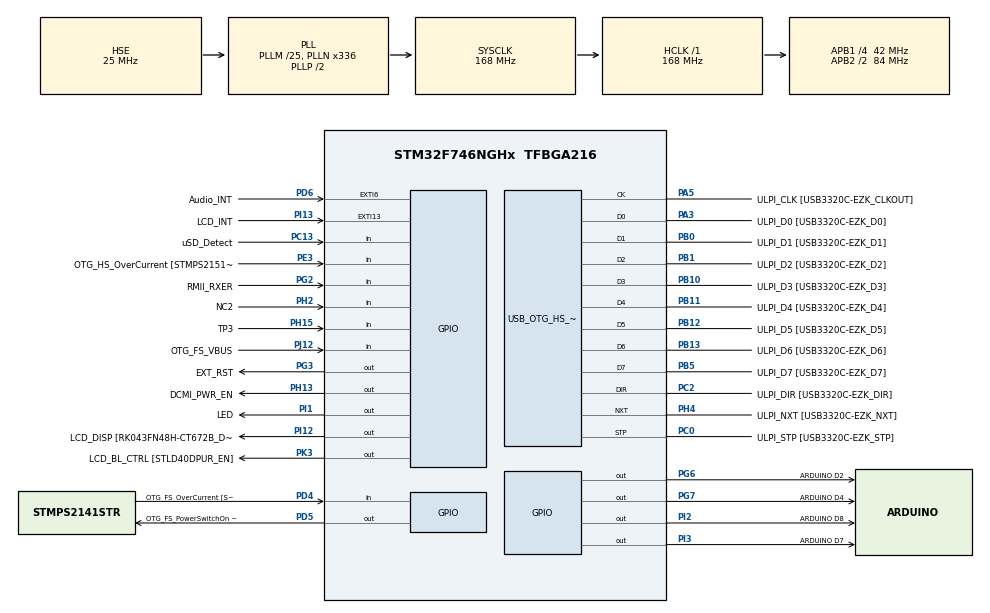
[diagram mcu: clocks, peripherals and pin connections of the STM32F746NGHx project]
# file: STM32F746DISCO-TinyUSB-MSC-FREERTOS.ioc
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FREERTOS.Tasks01=ToggleLed,16,128,ToggleLedTask,Default,NULL,Dynamic,NULL,NULL;USBCDC,23,256,USBCDCTask,Default,NULL,Dynamic,NULL,NULL;USBDevice,24,1024,USBDeviceTask,Default,NULL,Dynamic,NULL,NULL
FREERTOS.configUSE_NEWLIB_REENTRANT=1
Mcu.Family=STM32F7
Mcu.Name=STM32F746NGHx
Mcu.Package=TFBGA216
NVIC.OTG_HS_IRQn=true\:5\:0\:false\:false\:true\:true\:true\:true\:true
NVIC.PriorityGroup=NVIC_PRIORITYGROUP_4
NVIC.TIM6_DAC_IRQn=true\:15\:0\:false\:false\:true\:false\:false\:true\:true
NVIC.TimeBase=TIM6_DAC_IRQn
NVIC.TimeBaseIP=TIM6
PA0/WKUP.GPIO_Label=ARDUINO A0
PA0/WKUP.GPIO_Mode=GPIO_MODE_ANALOG
PA0/WKUP.GPIO_PuPd=GPIO_NOPULL
PA0/WKUP.Signal=ADCx_IN0
PA1.GPIO_Label=RMII_REF_CLK [LAN8742A-CZ-TR_REFCLK0]
PA1.Signal=ETH_REF_CLK
PA10.GPIO_Label=OTG_FS_ID
PA10.Signal=USB_OTG_FS_ID
PA11.GPIO_Label=OTG_FS_N
PA11.Signal=USB_OTG_FS_DM
PA12.GPIO_Label=OTG_FS_P
PA12.Signal=USB_OTG_FS_DP
PA13.GPIO_Label=SWDIO
PA13.Signal=SYS_JTMS-SWDIO
PA14.GPIO_Label=SWCLK
PA14.Signal=SYS_JTCK-SWCLK
PA15.GPIO_Label=ARDUINO PWM/D9
PA15.GPIO_ModeDefaultPP=GPIO_MODE_AF_PP
PA15.GPIO_PuPd=GPIO_NOPULL
PA15.GPIO_Speed=GPIO_SPEED_FREQ_LOW
PA15.Signal=S_TIM2_CH1_ETR
PA2.GPIO_Label=RMII_MDIO [LAN8742A-CZ-TR_MDIO]
PA2.Signal=ETH_MDIO
PA3.GPIO_Label=ULPI_D0 [USB3320C-EZK_D0]
PA3.Mode=Device_HS
PA3.Signal=USB_OTG_HS_ULPI_D0
PA4.GPIO_Label=DCMI_HSYNC
PA4.Signal=DCMI_HSYNC
PA5.GPIO_Label=ULPI_CLK [USB3320C-EZK_CLKOUT]
PA5.Mode=Device_HS
PA5.Signal=USB_OTG_HS_ULPI_CK
PA6.Signal=DCMI_PIXCLK
PA7.GPIO_Label=RMII_CRS_DV [LAN8742A-CZ-TR_CRS_DV]
PA7.Signal=ETH_CRS_DV
PA8.GPIO_Label=ARDUINO PWM/D10
PA8.GPIO_ModeDefaultPP=GPIO_MODE_AF_PP
PA8.GPIO_PuPd=GPIO_NOPULL
PA8.GPIO_Speed=GPIO_SPEED_FREQ_LOW
PA8.Signal=S_TIM1_CH1
PA9.GPIO_Label=VCP_TX [STM32F103CBT6_PA3]
PA9.GPIO_Mode=GPIO_MODE_AF_PP
PA9.GPIO_PuPd=GPIO_NOPULL
PA9.GPIO_Speed=GPIO_SPEED_FREQ_LOW
PA9.Signal=USART1_TX
PB0.GPIO_Label=ULPI_D1 [USB3320C-EZK_D1]
PB0.Mode=Device_HS
PB0.Signal=USB_OTG_HS_ULPI_D1
PB1.GPIO_Label=ULPI_D2 [USB3320C-EZK_D2]
PB1.Mode=Device_HS
PB1.Signal=USB_OTG_HS_ULPI_D2
PB10.GPIO_Label=ULPI_D3 [USB3320C-EZK_D3]
PB10.Mode=Device_HS
PB10.Signal=USB_OTG_HS_ULPI_D3
PB11.GPIO_Label=ULPI_D4 [USB3320C-EZK_D4]
PB11.Mode=Device_HS
PB11.Signal=USB_OTG_HS_ULPI_D4
PB12.GPIO_Label=ULPI_D5 [USB3320C-EZK_D5]
PB12.Mode=Device_HS
PB12.Signal=USB_OTG_HS_ULPI_D5
PB13.GPIO_Label=ULPI_D6 [USB3320C-EZK_D6]
PB13.Mode=Device_HS
PB13.Signal=USB_OTG_HS_ULPI_D6
PB14.GPIO_Label=ARDUINO MISO/D12
PB14.GPIO_Mode=GPIO_MODE_AF_PP
PB14.GPIO_PuPd=GPIO_NOPULL
PB14.GPIO_Speed=GPIO_SPEED_FREQ_LOW
PB14.Signal=SPI2_MISO
PB15.GPIO_Label=ARDUINO MOSI/PWM/D11
PB15.GPIO_Mode=GPIO_MODE_AF_PP
PB15.GPIO_PuPd=GPIO_NOPULL
PB15.GPIO_Speed=GPIO_SPEED_FREQ_LOW
PB15.Signal=SPI2_MOSI
PB2.Signal=QUADSPI_CLK
PB3.GPIO_Label=SWO
PB3.Signal=SYS_JTDO-SWO
PB4.GPIO_Label=ARDUINO PWM/D3
PB4.GPIO_ModeDefaultPP=GPIO_MODE_AF_PP
PB4.GPIO_PuPd=GPIO_NOPULL
PB4.GPIO_Speed=GPIO_SPEED_FREQ_LOW
PB4.Signal=S_TIM3_CH1
PB5.GPIO_Label=ULPI_D7 [USB3320C-EZK_D7]
PB5.Mode=Device_HS
PB5.Signal=USB_OTG_HS_ULPI_D7
PB6.GPIO_Label=QSPI_NCS [N25Q128A13EF840E_S]
PB6.Signal=QUADSPI_BK1_NCS
PB7.GPIO_Label=VCP_RX [STM32F103CBT6_PA2]
PB7.GPIO_Mode=GPIO_MODE_AF_PP
PB7.GPIO_PuPd=GPIO_NOPULL
PB7.GPIO_Speed=GPIO_SPEED_FREQ_LOW
PB7.Signal=USART1_RX
PB8.GPIO_Label=ARDUINO SCL/D15
PB8.GPIO_Mode=GPIO_MODE_AF_OD
PB8.GPIO_PuPd=GPIO_NOPULL
PB8.GPIO_Speed=GPIO_SPEED_FREQ_LOW
PB8.Signal=I2C1_SCL
PB9.GPIO_Label=ARDUINO SDA/D14
PB9.GPIO_Mode=GPIO_MODE_AF_OD
PB9.GPIO_PuPd=GPIO_NOPULL
PB9.GPIO_Speed=GPIO_SPEED_FREQ_LOW
PB9.Signal=I2C1_SDA
PC0.GPIO_Label=ULPI_STP [USB3320C-EZK_STP]
PC0.Mode=Device_HS
PC0.Signal=USB_OTG_HS_ULPI_STP
PC1.GPIO_Label=RMII_MDC [LAN8742A-CZ-TR_MDC]
PC1.Signal=ETH_MDC
PC10.GPIO_Label=SDMMC_D2
PC10.Signal=SDMMC1_D2
PC11.GPIO_Label=SDMMC_D3
PC11.Signal=SDMMC1_D3
PC12.GPIO_Label=SDMMC_CK
PC12.Signal=SDMMC1_CK
PC13.GPIO_Label=uSD_Detect
PC13.Signal=GPIO_Input
PC14/OSC32_IN.GPIO_Label=RCC_OSC32_IN
PC14/OSC32_IN.Mode=LSE-External-Oscillator
PC14/OSC32_IN.Signal=RCC_OSC32_IN
PC15/OSC32_OUT.GPIO_Label=RCC_OSC32_OUT
PC15/OSC32_OUT.Mode=LSE-External-Oscillator
PC15/OSC32_OUT.Signal=RCC_OSC32_OUT
PC2.GPIO_Label=ULPI_DIR [USB3320C-EZK_DIR]
PC2.Mode=Device_HS
PC2.Signal=USB_OTG_HS_ULPI_DIR
PC3.GPIO_Label=FMC_SDCKE0 [MT48LC4M32B2B5-6A_CKE]
PC3.Signal=FMC_SDCKE0
PC4.GPIO_Label=RMII_RXD0 [LAN8742A-CZ-TR_RXD0]
PC4.Signal=ETH_RXD0
PC5.GPIO_Label=RMII_RXD1 [LAN8742A-CZ-TR_RXD1]
PC5.Signal=ETH_RXD1
PC6.GPIO_Label=ARDUINO TX/D1
PC6.Signal=USART6_TX
PC7.GPIO_Label=ARDUINO RX/D0
PC7.Signal=USART6_RX
PC8.Signal=SDMMC1_D0
PC9.Signal=SDMMC1_D1
PD0.GPIO_Label=FMC_D2 [MT48LC4M32B2B5-6A_DQ2]
PD0.Signal=FMC_D2_DA2
PD1.GPIO_Label=FMC_D3 [MT48LC4M32B2B5-6A_DQ3]
PD1.Signal=FMC_D3_DA3
PD10.GPIO_Label=FMC_D15 [MT48LC4M32B2B5-6A_DQ15]
PD10.Signal=FMC_D15_DA15
PD11.GPIO_Label=QSPI_D0 [N25Q128A13EF840E_DQ0]
PD11.Signal=QUADSPI_BK1_IO0
PD12.GPIO_Label=QSPI_D1 [N25Q128A13EF840E_DQ1]
PD12.Signal=QUADSPI_BK1_IO1
PD13.GPIO_Label=QSPI_D3 [N25Q128A13EF840E_DQ3]
PD13.Signal=QUADSPI_BK1_IO3
PD14.GPIO_Label=FMC_D0 [MT48LC4M32B2B5-6A_DQ0]
PD14.Signal=FMC_D0_DA0
PD15.GPIO_Label=FMC_D1 [MT48LC4M32B2B5-6A_DQ1]
PD15.Signal=FMC_D1_DA1
PD2.GPIO_Label=SDMMC_D0
PD2.Signal=SDMMC1_CMD
PD3.GPIO_Label=DCMI_D5
PD3.Signal=DCMI_D5
PD4.GPIO_Label=OTG_FS_OverCurrent [STMPS2141STR_Fault]
PD4.Signal=GPIO_Input
PD5.GPIO_Label=OTG_FS_PowerSwitchOn [STMPS2141STR_EN]
PD5.PinState=GPIO_PIN_SET
PD5.Signal=GPIO_Output
PD6.GPIO_Label=Audio_INT
PD6.GPIO_ModeDefaultEXTI=GPIO_MODE_EVT_RISING
PD6.Signal=GPXTI6
PD7.GPIO_Label=SPDIF_RX0 [74LVC1G04SE_4]
PD7.Signal=SPDIFRX_IN0
PD8.GPIO_Label=FMC_D13 [MT48LC4M32B2B5-6A_DQ13]
PD8.Signal=FMC_D13_DA13
PD9.GPIO_Label=FMC_D14 [MT48LC4M32B2B5-6A_DQ14]
PD9.Signal=FMC_D14_DA14
PE0.GPIO_Label=FMC_NBL0 [MT48LC4M32B2B5-6A_DQM0]
PE0.Signal=FMC_NBL0
PE1.GPIO_Label=FMC_NBL1 [MT48LC4M32B2B5-6A_DQM1]
PE1.Signal=FMC_NBL1
PE10.GPIO_Label=FMC_D7 [MT48LC4M32B2B5-6A_DQ7]
PE10.Signal=FMC_D7_DA7
PE11.GPIO_Label=FMC_D8 [MT48LC4M32B2B5-6A_DQ8]
PE11.Signal=FMC_D8_DA8
PE12.GPIO_Label=FMC_D9 [MT48LC4M32B2B5-6A_DQ9]
PE12.Signal=FMC_D9_DA9
PE13.GPIO_Label=FMC_D10 [MT48LC4M32B2B5-6A_DQ10]
PE13.Signal=FMC_D10_DA10
PE14.GPIO_Label=FMC_D11 [MT48LC4M32B2B5-6A_DQ11]
PE14.Signal=FMC_D11_DA11
PE15.GPIO_Label=FMC_D12 [MT48LC4M32B2B5-6A_DQ12]
PE15.Signal=FMC_D12_DA12
PE2.GPIO_Label=QSPI_D2 [N25Q128A13EF840E_DQ2]
PE2.Signal=QUADSPI_BK1_IO2
PE3.GPIO_Label=OTG_HS_OverCurrent [STMPS2151STR_FAULT]
PE3.Signal=GPIO_Input
PE4.GPIO_Label=LCD_B0 [RK043FN48H-CT672B_B0]
PE4.Signal=LTDC_B0
PE5.GPIO_Label=DCMI_D6
PE5.Signal=DCMI_D6
PE6.GPIO_Label=DCMI_D7
PE6.Signal=DCMI_D7
PE7.GPIO_Label=FMC_D4 [MT48LC4M32B2B5-6A_DQ4]
PE7.Signal=FMC_D4_DA4
PE8.GPIO_Label=FMC_D5 [MT48LC4M32B2B5-6A_DQ5]
PE8.Signal=FMC_D5_DA5
PE9.GPIO_Label=FMC_D6 [MT48LC4M32B2B5-6A_DQ6]
PE9.Signal=FMC_D6_DA6
PF0.GPIO_Label=FMC_A0 [MT48LC4M32B2B5-6A_A0]
PF0.Signal=FMC_A0
PF1.GPIO_Label=FMC_A1 [MT48LC4M32B2B5-6A_A1]
PF1.Signal=FMC_A1
PF10.GPIO_Label=ARDUINO A1
PF10.GPIO_Mode=GPIO_MODE_ANALOG
PF10.GPIO_PuPd=GPIO_NOPULL
PF10.Signal=ADC3_IN8
PF11.GPIO_Label=FMC_SDNRAS [MT48LC4M32B2B5-6A_RAS]
PF11.Signal=FMC_SDNRAS
PF12.GPIO_Label=FMC_A6 [MT48LC4M32B2B5-6A_A6]
PF12.Signal=FMC_A6
PF13.GPIO_Label=FMC_A7 [MT48LC4M32B2B5-6A_A7]
PF13.Signal=FMC_A7
PF14.GPIO_Label=FMC_A8 [MT48LC4M32B2B5-6A_A8]
PF14.Signal=FMC_A8
PF15.GPIO_Label=FMC_A9 [MT48LC4M32B2B5-6A_A9]
PF15.Signal=FMC_A9
PF2.GPIO_Label=FMC_A2 [MT48LC4M32B2B5-6A_A2]
PF2.Signal=FMC_A2
PF3.GPIO_Label=FMC_A3 [MT48LC4M32B2B5-6A_A3]
PF3.Signal=FMC_A3
PF4.GPIO_Label=FMC_A4 [MT48LC4M32B2B5-6A_A4]
PF4.Signal=FMC_A4
PF5.GPIO_Label=FMC_A5 [MT48LC4M32B2B5-6A_A5]
PF5.Signal=FMC_A5
PF6.GPIO_Label=ARDUINO A5
PF6.GPIO_Mode=GPIO_MODE_ANALOG
PF6.GPIO_PuPd=GPIO_NOPULL
PF6.Signal=ADC3_IN4
PF7.GPIO_Label=ARDUINO A4
PF7.GPIO_Mode=GPIO_MODE_ANALOG
PF7.GPIO_PuPd=GPIO_NOPULL
PF7.Signal=ADC3_IN5
PF8.GPIO_Label=ARDUINO A3
PF8.GPIO_Mode=GPIO_MODE_ANALOG
PF8.GPIO_PuPd=GPIO_NOPULL
PF8.Signal=ADC3_IN6
PF9.GPIO_Label=ARDUINO A2
PF9.GPIO_Mode=GPIO_MODE_ANALOG
PF9.GPIO_PuPd=GPIO_NOPULL
PF9.Signal=ADC3_IN7
PG0.GPIO_Label=FMC_A10 [MT48LC4M32B2B5-6A_A10]
PG0.Signal=FMC_A10
PG1.GPIO_Label=FMC_A11 [MT48LC4M32B2B5-6A_A11]
PG1.Signal=FMC_A11
PG10.GPIO_Label=SAI2_SDB [WM8994ECS/R_ADCDAT1]
PG10.Signal=SAI2_SD_B
PG11.GPIO_Label=RMII_TX_EN [LAN8742A-CZ-TR_TXEN]
PG11.Signal=ETH_TX_EN
PG12.GPIO_Label=LCD_B4 [RK043FN48H-CT672B_B4]
PG12.Signal=LTDC_B4
PG13.GPIO_Label=RMII_TXD0 [LAN8742A-CZ-TR_TXD0]
PG13.Signal=ETH_TXD0
PG14.GPIO_Label=RMII_TXD1 [LAN8742A-CZ-TR_TXD1]
PG14.Signal=ETH_TXD1
PG15.GPIO_Label=FMC_SDNCAS [MT48LC4M32B2B5-6A_CAS]
PG15.Signal=FMC_SDNCAS
PG2.GPIO_Label=RMII_RXER
PG2.Signal=GPIO_Input
PG3.GPIO_Label=EXT_RST
PG3.Signal=GPIO_Output
PG4.GPIO_Label=FMC_BA0 [MT48LC4M32B2B5-6A_BA0]
PG4.Signal=FMC_A14_BA0
PG5.GPIO_Label=FMC_BA1 [MT48LC4M32B2B5-6A_BA1]
PG5.Signal=FMC_A15_BA1
PG6.GPIO_Label=ARDUINO D2
PG6.Signal=GPIO_Output
PG7.GPIO_Label=ARDUINO D4
PG7.Signal=GPIO_Output
PG8.GPIO_Label=FMC_SDCLK [MT48LC4M32B2B5-6A_CLK]
PG8.Signal=FMC_SDCLK
PG9.GPIO_Label=DCMI_VSYNC
PG9.Signal=DCMI_VSYNC
PH0/OSC_IN.GPIO_Label=OSC_25M [NZ2520SB-25.00M_OUT]
PH0/OSC_IN.Mode=HSE-External-Oscillator
PH0/OSC_IN.Signal=RCC_OSC_IN
PH1/OSC_OUT.Mode=HSE-External-Oscillator
PH1/OSC_OUT.Signal=RCC_OSC_OUT
PH10.GPIO_Label=DCMI_D1
PH10.Signal=DCMI_D1
PH11.GPIO_Label=DCMI_D2
PH11.Signal=DCMI_D2
PH12.GPIO_Label=DCMI_D3
PH12.Signal=DCMI_D3
PH13.GPIO_Label=DCMI_PWR_EN
PH13.Signal=GPIO_Output
PH14.GPIO_Label=DCMI_D4
PH14.Signal=DCMI_D4
PH15.GPIO_Label=TP3
PH15.Signal=GPIO_Input
PH2.GPIO_Label=NC2
PH2.Signal=GPIO_Input
PH3.GPIO_Label=FMC_SDNE0 [MT48LC4M32B2B5-6A_CS]
PH3.Signal=FMC_SDNE0
PH4.GPIO_Label=ULPI_NXT [USB3320C-EZK_NXT]
PH4.Mode=Device_HS
PH4.Signal=USB_OTG_HS_ULPI_NXT
PH5.GPIO_Label=FMC_SDNME [MT48LC4M32B2B5-6A_WE]
PH5.Signal=FMC_SDNWE
PH6.GPIO_Label=ARDUINO PWM/D6
PH6.Signal=S_TIM12_CH1
PH7.GPIO_Label=LCD_SCL [RK043FN48H-CT672B_SCL]
PH7.Signal=I2C3_SCL
PH8.GPIO_Label=LCD_SDA [RK043FN48H-CT672B_SDA]
PH8.Signal=I2C3_SDA
PH9.GPIO_Label=DCMI_D0
PH9.Signal=DCMI_D0
PI0.GPIO_Label=ARDUINO PWM/CS/D5
PI0.GPIO_ModeDefaultPP=GPIO_MODE_AF_PP
PI0.GPIO_PuPd=GPIO_NOPULL
PI0.GPIO_Speed=GPIO_SPEED_FREQ_LOW
PI0.Signal=S_TIM5_CH4
PI1.GPIO_Label=LED
PI1.Signal=GPIO_Output
PI10.GPIO_Label=LCD_HSYNC [RK043FN48H-CT672B_HSYNC]
PI10.Signal=LTDC_HSYNC
PI12.GPIO_Label=LCD_DISP [RK043FN48H-CT672B_DISP] 
PI12.Signal=GPIO_Output
PI13.GPIO_Label=LCD_INT
PI13.GPIO_ModeDefaultEXTI=GPIO_MODE_EVT_RISING
PI13.Signal=GPXTI13
PI14.GPIO_Label=LCD_CLK [RK043FN48H-CT672B_CLK]
PI14.Signal=LTDC_CLK
PI15.GPIO_Label=LCD_R0 [RK043FN48H-CT672B_R0]
PI15.Signal=LTDC_R0
PI2.GPIO_Label=ARDUINO D8
PI2.Signal=GPIO_Output
PI3.GPIO_Label=ARDUINO D7
PI3.Signal=GPIO_Output
PI4.GPIO_Label=SAI2_MCLKA [WM8994ECS/R_MCLK1]
PI4.Signal=SAI2_MCLK_A
PI5.GPIO_Label=SAI2_SCKA [WM8994ECS/R_BCLK1]
PI5.Signal=SAI2_SCK_A
PI6.GPIO_Label=SAI2_SDA [WM8994ECS/R_DACDAT1]
PI6.Signal=SAI2_SD_A
PI7.GPIO_Label=SAI2_FSA [WM8994ECS/R_LRCLK1]
PI7.Signal=SAI2_FS_A
PI8.GPIO_Label=NC1 [TP2]
PI8.Signal=RTC_TS
PI9.GPIO_Label=LCD_VSYNC [RK043FN48H-CT672B_VSYNC]
PI9.Signal=LTDC_VSYNC
PJ0.GPIO_Label=LCD_R1 [RK043FN48H-CT672B_R1]
PJ0.Signal=LTDC_R1
PJ1.GPIO_Label=LCD_R2 [RK043FN48H-CT672B_R2]
PJ1.Signal=LTDC_R2
PJ10.GPIO_Label=LCD_G3 [RK043FN48H-CT672B_G3]
PJ10.Signal=LTDC_G3
PJ11.GPIO_Label=LCD_G4 [RK043FN48H-CT672B_G4]
PJ11.Signal=LTDC_G4
PJ12.GPIO_Label=OTG_FS_VBUS
PJ12.Signal=GPIO_Input
PJ13.GPIO_Label=LCD_B1 [RK043FN48H-CT672B_B1]
PJ13.Signal=LTDC_B1
PJ14.GPIO_Label=LCD_B2 [RK043FN48H-CT672B_B2]
PJ14.Signal=LTDC_B2
PJ15.GPIO_Label=LCD_B3 [RK043FN48H-CT672B_B3]
PJ15.Signal=LTDC_B3
PJ2.GPIO_Label=LCD_R3 [RK043FN48H-CT672B_R3]
PJ2.Signal=LTDC_R3
PJ3.GPIO_Label=LCD_R4 [RK043FN48H-CT672B_R4]
PJ3.Signal=LTDC_R4
PJ4.GPIO_Label=LCD_R5 [RK043FN48H-CT672B_R5]
PJ4.Signal=LTDC_R5
PJ5.GPIO_Label=LCD_R6 [RK043FN48H-CT672B_R6]
PJ5.Signal=LTDC_R6
PJ6.GPIO_Label=LCD_R7 [RK043FN48H-CT672B_R7]
PJ6.Signal=LTDC_R7
PJ7.GPIO_Label=LCD_G0 [RK043FN48H-CT672B_G0]
PJ7.Signal=LTDC_G0
PJ8.GPIO_Label=LCD_G1 [RK043FN48H-CT672B_G1]
PJ8.Signal=LTDC_G1
PJ9.GPIO_Label=LCD_G2 [RK043FN48H-CT672B_G2]
PJ9.Signal=LTDC_G2
PK0.GPIO_Label=LCD_G5 [RK043FN48H-CT672B_G5]
PK0.Signal=LTDC_G5
PK1.GPIO_Label=LCD_G6 [RK043FN48H-CT672B_G6]
PK1.Signal=LTDC_G6
PK2.GPIO_Label=LCD_G7 [RK043FN48H-CT672B_G7]
PK2.Signal=LTDC_G7
PK3.GPIO_Label=LCD_BL_CTRL [STLD40DPUR_EN]
PK3.Signal=GPIO_Output
PK4.GPIO_Label=LCD_B5 [RK043FN48H-CT672B_B5]
PK4.Signal=LTDC_B5
PK5.GPIO_Label=LCD_B6 [RK043FN48H-CT672B_B6]
PK5.Signal=LTDC_B6
PK6.GPIO_Label=LCD_B7 [RK043FN48H-CT672B_B7]
PK6.Signal=LTDC_B7
PK7.GPIO_Label=LCD_DE [RK043FN48H-CT672B_DE]
PK7.Signal=LTDC_DE
ProjectManager.HeapSize=0x200
ProjectManager.StackSize=0x400
ProjectManager.TargetToolchain=CMake
RCC.AHBFreq_Value=168000000
RCC.APB1CLKDivider=RCC_HCLK_DIV4
RCC.APB1Freq_Value=42000000
RCC.APB1TimFreq_Value=84000000
RCC.APB2CLKDivider=RCC_HCLK_DIV2
RCC.APB2Freq_Value=84000000
RCC.APB2TimFreq_Value=168000000
RCC.CortexFreq_Value=168000000
RCC.HCLKFreq_Value=168000000
RCC.HSE_VALUE=25000000
RCC.HSI_VALUE=16000000
RCC.PLLM=25
RCC.PLLN=336
RCC.PLLSourceVirtual=RCC_PLLSOURCE_HSE
RCC.SYSCLKFreq_VALUE=168000000
RCC.SYSCLKSource=RCC_SYSCLKSOURCE_PLLCLK
RCC.USBFreq_Value=168000000
RCC.VCOOutputFreq_Value=336000000
SH.ADCx_IN0.0=ADC3_IN0
SH.FMC_A0.0=FMC_A0
SH.FMC_A1.0=FMC_A1
SH.FMC_A10.0=FMC_A10
SH.FMC_A11.0=FMC_A11
SH.FMC_A14_BA0.0=FMC_BA0
SH.FMC_A15_BA1.0=FMC_BA1
SH.FMC_A2.0=FMC_A2
SH.FMC_A3.0=FMC_A3
SH.FMC_A4.0=FMC_A4
SH.FMC_A5.0=FMC_A5
SH.FMC_A6.0=FMC_A6
SH.FMC_A7.0=FMC_A7
SH.FMC_A8.0=FMC_A8
SH.FMC_A9.0=FMC_A9
SH.FMC_D0_DA0.0=FMC_D0
SH.FMC_D10_DA10.0=FMC_D10
SH.FMC_D11_DA11.0=FMC_D11
SH.FMC_D12_DA12.0=FMC_D12
SH.FMC_D13_DA13.0=FMC_D13
SH.FMC_D14_DA14.0=FMC_D14
SH.FMC_D15_DA15.0=FMC_D15
SH.FMC_D1_DA1.0=FMC_D1
SH.FMC_D2_DA2.0=FMC_D2
SH.FMC_D3_DA3.0=FMC_D3
SH.FMC_D4_DA4.0=FMC_D4
SH.FMC_D5_DA5.0=FMC_D5
SH.FMC_D6_DA6.0=FMC_D6
SH.FMC_D7_DA7.0=FMC_D7
SH.FMC_D8_DA8.0=FMC_D8
SH.FMC_D9_DA9.0=FMC_D9
SH.FMC_NBL0.0=FMC_NBL0
SH.FMC_NBL1.0=FMC_NBL1
SH.FMC_SDCLK.0=FMC_SDCLK
SH.FMC_SDNCAS.0=FMC_SDNCAS
SH.FMC_SDNRAS.0=FMC_SDNRAS
SH.FMC_SDNWE.0=FMC_SDNWE
SH.S_TIM12_CH1.0=TIM12_CH1
SH.S_TIM1_CH1.0=TIM1_CH1
SH.S_TIM2_CH1_ETR.0=TIM2_CH1
SH.S_TIM3_CH1.0=TIM3_CH1
SH.S_TIM5_CH4.0=TIM5_CH4
USB_OTG_HS.VirtualMode-Device_HS=Device_HS
VP_FREERTOS_VS_CMSIS_V2.Mode=CMSIS_V2
VP_SYS_VS_tim6.Mode=TIM6
board=STM32F746G-DISCO

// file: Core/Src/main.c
/* USER CODE BEGIN Header */
/**
  ******************************************************************************
  * @file           : main.c
  * @brief          : Main program body
  ******************************************************************************
  * @attention
  *
  * Copyright (c) 2024 STMicroelectronics.
  * All rights reserved.
  *
  * This software is licensed under terms that can be found in the LICENSE file
  * in the root directory of this software component.
  * If no LICENSE file comes with this software, it is provided AS-IS.
  *
  ******************************************************************************
  */
/* USER CODE END Header */
#include "main.h"
#include "cmsis_os.h"

/* USER CODE BEGIN Includes */
#include "tusb.h"
/* USER CODE END Includes */

/* USER CODE BEGIN PTD */

/* Blink pattern
 * - 250 ms  : device not mounted
 * - 1000 ms : device mounted
 * - 2500 ms : device is suspended
 */
enum {
  BLINK_NOT_MOUNTED = 250,
  BLINK_MOUNTED = 1000,
  BLINK_SUSPENDED = 2500,
};

/* USER CODE END PTD */

PCD_HandleTypeDef hpcd_USB_OTG_HS;

/* Definitions for ToggleLed */
osThreadId_t ToggleLedHandle;
const osThreadAttr_t ToggleLed_attributes = {
  .name = "ToggleLed",
  .stack_size = 128 * 4,
  .priority = (osPriority_t) osPriorityBelowNormal,
};
/* Definitions for USBCDC */
osThreadId_t USBCDCHandle;
const osThreadAttr_t USBCDC_attributes = {
  .name = "USBCDC",
  .stack_size = 256 * 4,
  .priority = (osPriority_t) osPriorityBelowNormal7,
};
/* Definitions for USBDevice */
osThreadId_t USBDeviceHandle;
const osThreadAttr_t USBDevice_attributes = {
  .name = "USBDevice",
  .stack_size = 1024 * 4,
  .priority = (osPriority_t) osPriorityNormal,
};
/* USER CODE BEGIN PV */

static uint32_t blink_interval_ms = BLINK_NOT_MOUNTED;

/* USER CODE END PV */

void SystemClock_Config(void);
static void MX_GPIO_Init(void);
static void MX_USB_OTG_HS_PCD_Init(void);
void ToggleLedTask(void *argument);
void USBCDCTask(void *argument);
void USBDeviceTask(void *argument);

int main(void)
{

  /* MCU Configuration--------------------------------------------------------*/

  /* Reset of all peripherals, Initializes the Flash interface and the Systick. */
  HAL_Init();

  /* Configure the system clock */
  SystemClock_Config();

  /* Initialize all configured peripherals */
  MX_GPIO_Init();
  MX_USB_OTG_HS_PCD_Init();

  /* Init scheduler */
  osKernelInitialize();

  /* Create the thread(s) */
  /* creation of ToggleLed */
  ToggleLedHandle = osThreadNew(ToggleLedTask, NULL, &ToggleLed_attributes);

  /* creation of USBCDC */
  USBCDCHandle = osThreadNew(USBCDCTask, NULL, &USBCDC_attributes);

  /* creation of USBDevice */
  USBDeviceHandle = osThreadNew(USBDeviceTask, NULL, &USBDevice_attributes);

  /* Start scheduler */
  osKernelStart();

  /* We should never get here as control is now taken by the scheduler */

  /* Infinite loop */
  while (1)
  {

  }
}

void SystemClock_Config(void)
{
  RCC_OscInitTypeDef RCC_OscInitStruct = {0};
  RCC_ClkInitTypeDef RCC_ClkInitStruct = {0};

  /** Configure LSE Drive Capability
  */
  HAL_PWR_EnableBkUpAccess();

  /** Configure the main internal regulator output voltage
  */
  __HAL_RCC_PWR_CLK_ENABLE();
  __HAL_PWR_VOLTAGESCALING_CONFIG(PWR_REGULATOR_VOLTAGE_SCALE2);

  /** Initializes the RCC Oscillators according to the specified parameters
  * in the RCC_OscInitTypeDef structure.
  */
  RCC_OscInitStruct.OscillatorType = RCC_OSCILLATORTYPE_HSE;
  RCC_OscInitStruct.HSEState = RCC_HSE_ON;
  RCC_OscInitStruct.PLL.PLLState = RCC_PLL_ON;
  RCC_OscInitStruct.PLL.PLLSource = RCC_PLLSOURCE_HSE;
  RCC_OscInitStruct.PLL.PLLM = 25;
  RCC_OscInitStruct.PLL.PLLN = 336;
  RCC_OscInitStruct.PLL.PLLP = RCC_PLLP_DIV2;
  RCC_OscInitStruct.PLL.PLLQ = 2;
  if (HAL_RCC_OscConfig(&RCC_OscInitStruct) != HAL_OK)
  {
    Error_Handler();
  }

  /** Initializes the CPU, AHB and APB buses clocks
  */
  RCC_ClkInitStruct.ClockType = RCC_CLOCKTYPE_HCLK|RCC_CLOCKTYPE_SYSCLK
                              |RCC_CLOCKTYPE_PCLK1|RCC_CLOCKTYPE_PCLK2;
  RCC_ClkInitStruct.SYSCLKSource = RCC_SYSCLKSOURCE_PLLCLK;
  RCC_ClkInitStruct.AHBCLKDivider = RCC_SYSCLK_DIV1;
  RCC_ClkInitStruct.APB1CLKDivider = RCC_HCLK_DIV4;
  RCC_ClkInitStruct.APB2CLKDivider = RCC_HCLK_DIV2;

  if (HAL_RCC_ClockConfig(&RCC_ClkInitStruct, FLASH_LATENCY_5) != HAL_OK)
  {
    Error_Handler();
  }
}

static void MX_USB_OTG_HS_PCD_Init(void)
{

  hpcd_USB_OTG_HS.Instance = USB_OTG_HS;
  hpcd_USB_OTG_HS.Init.dev_endpoints = 8;
  hpcd_USB_OTG_HS.Init.speed = PCD_SPEED_HIGH;
  hpcd_USB_OTG_HS.Init.dma_enable = DISABLE;
  hpcd_USB_OTG_HS.Init.phy_itface = USB_OTG_ULPI_PHY;
  hpcd_USB_OTG_HS.Init.Sof_enable = DISABLE;
  hpcd_USB_OTG_HS.Init.low_power_enable = DISABLE;
  hpcd_USB_OTG_HS.Init.lpm_enable = DISABLE;
  hpcd_USB_OTG_HS.Init.vbus_sensing_enable = DISABLE;
  hpcd_USB_OTG_HS.Init.use_dedicated_ep1 = DISABLE;
  hpcd_USB_OTG_HS.Init.use_external_vbus = DISABLE;
  if (HAL_PCD_Init(&hpcd_USB_OTG_HS) != HAL_OK)
  {
    Error_Handler();
  }

}

static void MX_GPIO_Init(void)
{
  GPIO_InitTypeDef GPIO_InitStruct = {0};

  /* GPIO Ports Clock Enable */
  __HAL_RCC_GPIOE_CLK_ENABLE();
  __HAL_RCC_GPIOG_CLK_ENABLE();
  __HAL_RCC_GPIOB_CLK_ENABLE();
  __HAL_RCC_GPIOD_CLK_ENABLE();
  __HAL_RCC_GPIOC_CLK_ENABLE();
  __HAL_RCC_GPIOA_CLK_ENABLE();
  __HAL_RCC_GPIOJ_CLK_ENABLE();
  __HAL_RCC_GPIOI_CLK_ENABLE();
  __HAL_RCC_GPIOK_CLK_ENABLE();
  __HAL_RCC_GPIOF_CLK_ENABLE();
  __HAL_RCC_GPIOH_CLK_ENABLE();

  /*Configure GPIO pin Output Level */
  HAL_GPIO_WritePin(OTG_FS_PowerSwitchOn_GPIO_Port, OTG_FS_PowerSwitchOn_Pin, GPIO_PIN_SET);

  /*Configure GPIO pin Output Level */
  HAL_GPIO_WritePin(GPIOI, ARDUINO_D7_Pin|ARDUINO_D8_Pin|LED_Pin|LCD_DISP_Pin, GPIO_PIN_RESET);

  /*Configure GPIO pin Output Level */
  HAL_GPIO_WritePin(LCD_BL_CTRL_GPIO_Port, LCD_BL_CTRL_Pin, GPIO_PIN_RESET);

  /*Configure GPIO pin Output Level */
  HAL_GPIO_WritePin(DCMI_PWR_EN_GPIO_Port, DCMI_PWR_EN_Pin, GPIO_PIN_RESET);

  /*Configure GPIO pin Output Level */
  HAL_GPIO_WritePin(GPIOG, ARDUINO_D4_Pin|ARDUINO_D2_Pin|EXT_RST_Pin, GPIO_PIN_RESET);

  /*Configure GPIO pin : LCD_B0_Pin */
  GPIO_InitStruct.Pin = LCD_B0_Pin;
  GPIO_InitStruct.Mode = GPIO_MODE_AF_PP;
  GPIO_InitStruct.Pull = GPIO_NOPULL;
  GPIO_InitStruct.Speed = GPIO_SPEED_FREQ_LOW;
  GPIO_InitStruct.Alternate = GPIO_AF14_LTDC;
  HAL_GPIO_Init(LCD_B0_GPIO_Port, &GPIO_InitStruct);

  /*Configure GPIO pin : OTG_HS_OverCurrent_Pin */
  GPIO_InitStruct.Pin = OTG_HS_OverCurrent_Pin;
  GPIO_InitStruct.Mode = GPIO_MODE_INPUT;
  GPIO_InitStruct.Pull = GPIO_NOPULL;
  HAL_GPIO_Init(OTG_HS_OverCurrent_GPIO_Port, &GPIO_InitStruct);

  /*Configure GPIO pin : QSPI_D2_Pin */
  GPIO_InitStruct.Pin = QSPI_D2_Pin;
  GPIO_InitStruct.Mode = GPIO_MODE_AF_PP;
  GPIO_InitStruct.Pull = GPIO_NOPULL;
  GPIO_InitStruct.Speed = GPIO_SPEED_FREQ_VERY_HIGH;
  GPIO_InitStruct.Alternate = GPIO_AF9_QUADSPI;
  HAL_GPIO_Init(QSPI_D2_GPIO_Port, &GPIO_InitStruct);

  /*Configure GPIO pins : RMII_TXD1_Pin RMII_TXD0_Pin RMII_TX_EN_Pin */
  GPIO_InitStruct.Pin = RMII_TXD1_Pin|RMII_TXD0_Pin|RMII_TX_EN_Pin;
  GPIO_InitStruct.Mode = GPIO_MODE_AF_PP;
  GPIO_InitStruct.Pull = GPIO_NOPULL;
  GPIO_InitStruct.Speed = GPIO_SPEED_FREQ_VERY_HIGH;
  GPIO_InitStruct.Alternate = GPIO_AF11_ETH;
  HAL_GPIO_Init(GPIOG, &GPIO_InitStruct);

  /*Configure GPIO pins : FMC_NBL1_Pin FMC_NBL0_Pin FMC_D5_Pin FMC_D6_Pin
                           FMC_D8_Pin FMC_D11_Pin FMC_D4_Pin FMC_D7_Pin
                           FMC_D9_Pin FMC_D12_Pin FMC_D10_Pin */
  GPIO_InitStruct.Pin = FMC_NBL1_Pin|FMC_NBL0_Pin|FMC_D5_Pin|FMC_D6_Pin
                          |FMC_D8_Pin|FMC_D11_Pin|FMC_D4_Pin|FMC_D7_Pin
                          |FMC_D9_Pin|FMC_D12_Pin|FMC_D10_Pin;
  GPIO_InitStruct.Mode = GPIO_MODE_AF_PP;
  GPIO_InitStruct.Pull = GPIO_NOPULL;
  GPIO_InitStruct.Speed = GPIO_SPEED_FREQ_VERY_HIGH;
  GPIO_InitStruct.Alternate = GPIO_AF12_FMC;
  HAL_GPIO_Init(GPIOE, &GPIO_InitStruct);

  /*Configure GPIO pins : ARDUINO_SCL_D15_Pin ARDUINO_SDA_D14_Pin */
  GPIO_InitStruct.Pin = ARDUINO_SCL_D15_Pin|ARDUINO_SDA_D14_Pin;
  GPIO_InitStruct.Mode = GPIO_MODE_AF_OD;
  GPIO_InitStruct.Pull = GPIO_NOPULL;
  GPIO_InitStruct.Speed = GPIO_SPEED_FREQ_LOW;
  GPIO_InitStruct.Alternate = GPIO_AF4_I2C1;
  HAL_GPIO_Init(GPIOB, &GPIO_InitStruct);

  /*Configure GPIO pin : ARDUINO_PWM_D3_Pin */
  GPIO_InitStruct.Pin = ARDUINO_PWM_D3_Pin;
  GPIO_InitStruct.Mode = GPIO_MODE_AF_PP;
  GPIO_InitStruct.Pull = GPIO_NOPULL;
  GPIO_InitStruct.Speed = GPIO_SPEED_FREQ_LOW;
  GPIO_InitStruct.Alternate = GPIO_AF2_TIM3;
  HAL_GPIO_Init(ARDUINO_PWM_D3_GPIO_Port, &GPIO_InitStruct);

  /*Configure GPIO pin : SPDIF_RX0_Pin */
  GPIO_InitStruct.Pin = SPDIF_RX0_Pin;
  GPIO_InitStruct.Mode = GPIO_MODE_AF_PP;
  GPIO_InitStruct.Pull = GPIO_NOPULL;
  GPIO_InitStruct.Speed = GPIO_SPEED_FREQ_LOW;
  GPIO_InitStruct.Alternate = GPIO_AF8_SPDIFRX;
  HAL_GPIO_Init(SPDIF_RX0_GPIO_Port, &GPIO_InitStruct);

  /*Configure GPIO pins : SDMMC_CK_Pin SDMMC_D3_Pin SDMMC_D2_Pin PC9
                           PC8 */
  GPIO_InitStruct.Pin = SDMMC_CK_Pin|SDMMC_D3_Pin|SDMMC_D2_Pin|GPIO_PIN_9
                          |GPIO_PIN_8;
  GPIO_InitStruct.Mode = GPIO_MODE_AF_PP;
  GPIO_InitStruct.Pull = GPIO_NOPULL;
  GPIO_InitStruct.Speed = GPIO_SPEED_FREQ_VERY_HIGH;
  GPIO_InitStruct.Alternate = GPIO_AF12_SDMMC1;
  HAL_GPIO_Init(GPIOC, &GPIO_InitStruct);

  /*Configure GPIO pin : ARDUINO_PWM_D9_Pin */
  GPIO_InitStruct.Pin = ARDUINO_PWM_D9_Pin;
  GPIO_InitStruct.Mode = GPIO_MODE_AF_PP;
  GPIO_InitStruct.Pull = GPIO_NOPULL;
  GPIO_InitStruct.Speed = GPIO_SPEED_FREQ_LOW;
  GPIO_InitStruct.Alternate = GPIO_AF1_TIM2;
  HAL_GPIO_Init(ARDUINO_PWM_D9_GPIO_Port, &GPIO_InitStruct);

  /*Configure GPIO pins : DCMI_D6_Pin DCMI_D7_Pin */
  GPIO_InitStruct.Pin = DCMI_D6_Pin|DCMI_D7_Pin;
  GPIO_InitStruct.Mode = GPIO_MODE_AF_PP;
  GPIO_InitStruct.Pull = GPIO_NOPULL;
  GPIO_InitStruct.Speed = GPIO_SPEED_FREQ_LOW;
  GPIO_InitStruct.Alternate = GPIO_AF13_DCMI;
  HAL_GPIO_Init(GPIOE, &GPIO_InitStruct);

  /*Configure GPIO pin : VCP_RX_Pin */
  GPIO_InitStruct.Pin = VCP_RX_Pin;
  GPIO_InitStruct.Mode = GPIO_MODE_AF_PP;
  GPIO_InitStruct.Pull = GPIO_NOPULL;
  GPIO_InitStruct.Speed = GPIO_SPEED_FREQ_LOW;
  GPIO_InitStruct.Alternate = GPIO_AF7_USART1;
  HAL_GPIO_Init(VCP_RX_GPIO_Port, &GPIO_InitStruct);

  /*Configure GPIO pin : QSPI_NCS_Pin */
  GPIO_InitStruct.Pin = QSPI_NCS_Pin;
  GPIO_InitStruct.Mode = GPIO_MODE_AF_PP;
  GPIO_InitStruct.Pull = GPIO_NOPULL;
  GPIO_InitStruct.Speed = GPIO_SPEED_FREQ_VERY_HIGH;
  GPIO_InitStruct.Alternate = GPIO_AF10_QUADSPI;
  HAL_GPIO_Init(QSPI_NCS_GPIO_Port, &GPIO_InitStruct);

  /*Configure GPIO pins : FMC_SDNCAS_Pin FMC_SDCLK_Pin FMC_A11_Pin FMC_A10_Pin
                           FMC_BA1_Pin FMC_BA0_Pin */
  GPIO_InitStruct.Pin = FMC_SDNCAS_Pin|FMC_SDCLK_Pin|FMC_A11_Pin|FMC_A10_Pin
                          |FMC_BA1_Pin|FMC_BA0_Pin;
  GPIO_InitStruct.Mode = GPIO_MODE_AF_PP;
  GPIO_InitStruct.Pull = GPIO_NOPULL;
  GPIO_InitStruct.Speed = GPIO_SPEED_FREQ_VERY_HIGH;
  GPIO_InitStruct.Alternate = GPIO_AF12_FMC;
  HAL_GPIO_Init(GPIOG, &GPIO_InitStruct);

  /*Configure GPIO pins : LCD_B1_Pin LCD_B2_Pin LCD_B3_Pin LCD_G4_Pin
                           LCD_G1_Pin LCD_G3_Pin LCD_G0_Pin LCD_G2_Pin
                           LCD_R7_Pin LCD_R5_Pin LCD_R6_Pin LCD_R4_Pin
                           LCD_R3_Pin LCD_R1_Pin LCD_R2_Pin */
  GPIO_InitStruct.Pin = LCD_B1_Pin|LCD_B2_Pin|LCD_B3_Pin|LCD_G4_Pin
                          |LCD_G1_Pin|LCD_G3_Pin|LCD_G0_Pin|LCD_G2_Pin
                          |LCD_R7_Pin|LCD_R5_Pin|LCD_R6_Pin|LCD_R4_Pin
                          |LCD_R3_Pin|LCD_R1_Pin|LCD_R2_Pin;
  GPIO_InitStruct.Mode = GPIO_MODE_AF_PP;
  GPIO_InitStruct.Pull = GPIO_NOPULL;
  GPIO_InitStruct.Speed = GPIO_SPEED_FREQ_LOW;
  GPIO_InitStruct.Alternate = GPIO_AF14_LTDC;
  HAL_GPIO_Init(GPIOJ, &GPIO_InitStruct);

  /*Configure GPIO pin : OTG_FS_VBUS_Pin */
  GPIO_InitStruct.Pin = OTG_FS_VBUS_Pin;
  GPIO_InitStruct.Mode = GPIO_MODE_INPUT;
  GPIO_InitStruct.Pull = GPIO_NOPULL;
  HAL_GPIO_Init(OTG_FS_VBUS_GPIO_Port, &GPIO_InitStruct);

  /*Configure GPIO pin : Audio_INT_Pin */
  GPIO_InitStruct.Pin = Audio_INT_Pin;
  GPIO_InitStruct.Mode = GPIO_MODE_EVT_RISING;
  GPIO_InitStruct.Pull = GPIO_NOPULL;
  HAL_GPIO_Init(Audio_INT_GPIO_Port, &GPIO_InitStruct);

  /*Configure GPIO pins : FMC_D2_Pin FMC_D3_Pin FMC_D1_Pin FMC_D15_Pin
                           FMC_D0_Pin FMC_D14_Pin FMC_D13_Pin */
  GPIO_InitStruct.Pin = FMC_D2_Pin|FMC_D3_Pin|FMC_D1_Pin|FMC_D15_Pin
                          |FMC_D0_Pin|FMC_D14_Pin|FMC_D13_Pin;
  GPIO_InitStruct.Mode = GPIO_MODE_AF_PP;
  GPIO_InitStruct.Pull = GPIO_NOPULL;
  GPIO_InitStruct.Speed = GPIO_SPEED_FREQ_VERY_HIGH;
  GPIO_InitStruct.Alternate = GPIO_AF12_FMC;
  HAL_GPIO_Init(GPIOD, &GPIO_InitStruct);

  /*Configure GPIO pins : OTG_FS_P_Pin OTG_FS_N_Pin OTG_FS_ID_Pin */
  GPIO_InitStruct.Pin = OTG_FS_P_Pin|OTG_FS_N_Pin|OTG_FS_ID_Pin;
  GPIO_InitStruct.Mode = GPIO_MODE_AF_PP;
  GPIO_InitStruct.Pull = GPIO_NOPULL;
  GPIO_InitStruct.Speed = GPIO_SPEED_FREQ_VERY_HIGH;
  GPIO_InitStruct.Alternate = GPIO_AF10_OTG_FS;
  HAL_GPIO_Init(GPIOA, &GPIO_InitStruct);

  /*Configure GPIO pins : SAI2_MCLKA_Pin SAI2_SCKA_Pin SAI2_FSA_Pin SAI2_SDA_Pin */
  GPIO_InitStruct.Pin = SAI2_MCLKA_Pin|SAI2_SCKA_Pin|SAI2_FSA_Pin|SAI2_SDA_Pin;
  GPIO_InitStruct.Mode = GPIO_MODE_AF_PP;
  GPIO_InitStruct.Pull = GPIO_NOPULL;
  GPIO_InitStruct.Speed = GPIO_SPEED_FREQ_LOW;
  GPIO_InitStruct.Alternate = GPIO_AF10_SAI2;
  HAL_GPIO_Init(GPIOI, &GPIO_InitStruct);

  /*Configure GPIO pins : LCD_DE_Pin LCD_B7_Pin LCD_B6_Pin LCD_B5_Pin
                           LCD_G6_Pin LCD_G7_Pin LCD_G5_Pin */
  GPIO_InitStruct.Pin = LCD_DE_Pin|LCD_B7_Pin|LCD_B6_Pin|LCD_B5_Pin
                          |LCD_G6_Pin|LCD_G7_Pin|LCD_G5_Pin;
  GPIO_InitStruct.Mode = GPIO_MODE_AF_PP;
  GPIO_InitStruct.Pull = GPIO_NOPULL;
  GPIO_InitStruct.Speed = GPIO_SPEED_FREQ_LOW;
  GPIO_InitStruct.Alternate = GPIO_AF14_LTDC;
  HAL_GPIO_Init(GPIOK, &GPIO_InitStruct);

  /*Configure GPIO pin : LCD_B4_Pin */
  GPIO_InitStruct.Pin = LCD_B4_Pin;
  GPIO_InitStruct.Mode = GPIO_MODE_AF_PP;
  GPIO_InitStruct.Pull = GPIO_NOPULL;
  GPIO_InitStruct.Speed = GPIO_SPEED_FREQ_LOW;
  GPIO_InitStruct.Alternate = GPIO_AF9_LTDC;
  HAL_GPIO_Init(LCD_B4_GPIO_Port, &GPIO_InitStruct);

  /*Configure GPIO pin : SAI2_SDB_Pin */
  GPIO_InitStruct.Pin = SAI2_SDB_Pin;
  GPIO_InitStruct.Mode = GPIO_MODE_AF_PP;
  GPIO_InitStruct.Pull = GPIO_NOPULL;
  GPIO_InitStruct.Speed = GPIO_SPEED_FREQ_LOW;
  GPIO_InitStruct.Alternate = GPIO_AF10_SAI2;
  HAL_GPIO_Init(SAI2_SDB_GPIO_Port, &GPIO_InitStruct);

  /*Configure GPIO pin : OTG_FS_PowerSwitchOn_Pin */
  GPIO_InitStruct.Pin = OTG_FS_PowerSwitchOn_Pin;
  GPIO_InitStruct.Mode = GPIO_MODE_OUTPUT_PP;
  GPIO_InitStruct.Pull = GPIO_NOPULL;
  GPIO_InitStruct.Speed = GPIO_SPEED_FREQ_LOW;
  HAL_GPIO_Init(OTG_FS_PowerSwitchOn_GPIO_Port, &GPIO_InitStruct);

  /*Configure GPIO pin : DCMI_D5_Pin */
  GPIO_InitStruct.Pin = DCMI_D5_Pin;
  GPIO_InitStruct.Mode = GPIO_MODE_AF_PP;
  GPIO_InitStruct.Pull = GPIO_NOPULL;
  GPIO_InitStruct.Speed = GPIO_SPEED_FREQ_LOW;
  GPIO_InitStruct.Alternate = GPIO_AF13_DCMI;
  HAL_GPIO_Init(DCMI_D5_GPIO_Port, &GPIO_InitStruct);

  /*Configure GPIO pins : ARDUINO_D7_Pin ARDUINO_D8_Pin LED_Pin LCD_DISP_Pin */
  GPIO_InitStruct.Pin = ARDUINO_D7_Pin|ARDUINO_D8_Pin|LED_Pin|LCD_DISP_Pin;
  GPIO_InitStruct.Mode = GPIO_MODE_OUTPUT_PP;
  GPIO_InitStruct.Pull = GPIO_NOPULL;
  GPIO_InitStruct.Speed = GPIO_SPEED_FREQ_LOW;
  HAL_GPIO_Init(GPIOI, &GPIO_InitStruct);

  /*Configure GPIO pin : uSD_Detect_Pin */
  GPIO_InitStruct.Pin = uSD_Detect_Pin;
  GPIO_InitStruct.Mode = GPIO_MODE_INPUT;
  GPIO_InitStruct.Pull = GPIO_NOPULL;
  HAL_GPIO_Init(uSD_Detect_GPIO_Port, &GPIO_InitStruct);

  /*Configure GPIO pins : FMC_A0_Pin FMC_A1_Pin FMC_A2_Pin FMC_A3_Pin
                           FMC_A4_Pin FMC_A5_Pin FMC_A6_Pin FMC_A9_Pin
                           FMC_A7_Pin FMC_A8_Pin FMC_SDNRAS_Pin */
  GPIO_InitStruct.Pin = FMC_A0_Pin|FMC_A1_Pin|FMC_A2_Pin|FMC_A3_Pin
                          |FMC_A4_Pin|FMC_A5_Pin|FMC_A6_Pin|FMC_A9_Pin
                          |FMC_A7_Pin|FMC_A8_Pin|FMC_SDNRAS_Pin;
  GPIO_InitStruct.Mode = GPIO_MODE_AF_PP;
  GPIO_InitStruct.Pull = GPIO_NOPULL;
  GPIO_InitStruct.Speed = GPIO_SPEED_FREQ_VERY_HIGH;
  GPIO_InitStruct.Alternate = GPIO_AF12_FMC;
  HAL_GPIO_Init(GPIOF, &GPIO_InitStruct);

  /*Configure GPIO pins : LCD_HSYNC_Pin LCD_VSYNC_Pin LCD_R0_Pin LCD_CLK_Pin */
  GPIO_InitStruct.Pin = LCD_HSYNC_Pin|LCD_VSYNC_Pin|LCD_R0_Pin|LCD_CLK_Pin;
  GPIO_InitStruct.Mode = GPIO_MODE_AF_PP;
  GPIO_InitStruct.Pull = GPIO_NOPULL;
  GPIO_InitStruct.Speed = GPIO_SPEED_FREQ_LOW;
  GPIO_InitStruct.Alternate = GPIO_AF14_LTDC;
  HAL_GPIO_Init(GPIOI, &GPIO_InitStruct);

  /*Configure GPIO pin : LCD_BL_CTRL_Pin */
  GPIO_InitStruct.Pin = LCD_BL_CTRL_Pin;
  GPIO_InitStruct.Mode = GPIO_MODE_OUTPUT_PP;
  GPIO_InitStruct.Pull = GPIO_NOPULL;
  GPIO_InitStruct.Speed = GPIO_SPEED_FREQ_LOW;
  HAL_GPIO_Init(LCD_BL_CTRL_GPIO_Port, &GPIO_InitStruct);

  /*Configure GPIO pin : DCMI_VSYNC_Pin */
  GPIO_InitStruct.Pin = DCMI_VSYNC_Pin;
  GPIO_InitStruct.Mode = GPIO_MODE_AF_PP;
  GPIO_InitStruct.Pull = GPIO_NOPULL;
  GPIO_InitStruct.Speed = GPIO_SPEED_FREQ_LOW;
  GPIO_InitStruct.Alternate = GPIO_AF13_DCMI;
  HAL_GPIO_Init(DCMI_VSYNC_GPIO_Port, &GPIO_InitStruct);

  /*Configure GPIO pin : OTG_FS_OverCurrent_Pin */
  GPIO_InitStruct.Pin = OTG_FS_OverCurrent_Pin;
  GPIO_InitStruct.Mode = GPIO_MODE_INPUT;
  GPIO_InitStruct.Pull = GPIO_NOPULL;
  HAL_GPIO_Init(OTG_FS_OverCurrent_GPIO_Port, &GPIO_InitStruct);

  /*Configure GPIO pin : SDMMC_D0_Pin */
  GPIO_InitStruct.Pin = SDMMC_D0_Pin;
  GPIO_InitStruct.Mode = GPIO_MODE_AF_PP;
  GPIO_InitStruct.Pull = GPIO_NOPULL;
  GPIO_InitStruct.Speed = GPIO_SPEED_FREQ_VERY_HIGH;
  GPIO_InitStruct.Alternate = GPIO_AF12_SDMMC1;
  HAL_GPIO_Init(SDMMC_D0_GPIO_Port, &GPIO_InitStruct);

  /*Configure GPIO pins : TP3_Pin NC2_Pin */
  GPIO_InitStruct.Pin = TP3_Pin|NC2_Pin;
  GPIO_InitStruct.Mode = GPIO_MODE_INPUT;
  GPIO_InitStruct.Pull = GPIO_NOPULL;
  HAL_GPIO_Init(GPIOH, &GPIO_InitStruct);

  /*Configure GPIO pin : DCMI_PWR_EN_Pin */
  GPIO_InitStruct.Pin = DCMI_PWR_EN_Pin;
  GPIO_InitStruct.Mode = GPIO_MODE_OUTPUT_PP;
  GPIO_InitStruct.Pull = GPIO_NOPULL;
  GPIO_InitStruct.Speed = GPIO_SPEED_FREQ_LOW;
  HAL_GPIO_Init(DCMI_PWR_EN_GPIO_Port, &GPIO_InitStruct);

  /*Configure GPIO pins : DCMI_D4_Pin DCMI_D3_Pin DCMI_D0_Pin DCMI_D2_Pin
                           DCMI_D1_Pin */
  GPIO_InitStruct.Pin = DCMI_D4_Pin|DCMI_D3_Pin|DCMI_D0_Pin|DCMI_D2_Pin
                          |DCMI_D1_Pin;
  GPIO_InitStruct.Mode = GPIO_MODE_AF_PP;
  GPIO_InitStruct.Pull = GPIO_NOPULL;
  GPIO_InitStruct.Speed = GPIO_SPEED_FREQ_LOW;
  GPIO_InitStruct.Alternate = GPIO_AF13_DCMI;
  HAL_GPIO_Init(GPIOH, &GPIO_InitStruct);

  /*Configure GPIO pin : ARDUINO_PWM_CS_D5_Pin */
  GPIO_InitStruct.Pin = ARDUINO_PWM_CS_D5_Pin;
  GPIO_InitStruct.Mode = GPIO_MODE_AF_PP;
  GPIO_InitStruct.Pull = GPIO_NOPULL;
  GPIO_InitStruct.Speed = GPIO_SPEED_FREQ_LOW;
  GPIO_InitStruct.Alternate = GPIO_AF2_TIM5;
  HAL_GPIO_Init(ARDUINO_PWM_CS_D5_GPIO_Port, &GPIO_InitStruct);

  /*Configure GPIO pin : VCP_TX_Pin */
  GPIO_InitStruct.Pin = VCP_TX_Pin;
  GPIO_InitStruct.Mode = GPIO_MODE_AF_PP;
  GPIO_InitStruct.Pull = GPIO_NOPULL;
  GPIO_InitStruct.Speed = GPIO_SPEED_FREQ_LOW;
  GPIO_InitStruct.Alternate = GPIO_AF7_USART1;
  HAL_GPIO_Init(VCP_TX_GPIO_Port, &GPIO_InitStruct);

  /*Configure GPIO pin : ARDUINO_PWM_D10_Pin */
  GPIO_InitStruct.Pin = ARDUINO_PWM_D10_Pin;
  GPIO_InitStruct.Mode = GPIO_MODE_AF_PP;
  GPIO_InitStruct.Pull = GPIO_NOPULL;
  GPIO_InitStruct.Speed = GPIO_SPEED_FREQ_LOW;
  GPIO_InitStruct.Alternate = GPIO_AF1_TIM1;
  HAL_GPIO_Init(ARDUINO_PWM_D10_GPIO_Port, &GPIO_InitStruct);

  /*Configure GPIO pin : LCD_INT_Pin */
  GPIO_InitStruct.Pin = LCD_INT_Pin;
  GPIO_InitStruct.Mode = GPIO_MODE_EVT_RISING;
  GPIO_InitStruct.Pull = GPIO_NOPULL;
  HAL_GPIO_Init(LCD_INT_GPIO_Port, &GPIO_InitStruct);

  /*Configure GPIO pins : ARDUINO_RX_D0_Pin ARDUINO_TX_D1_Pin */
  GPIO_InitStruct.Pin = ARDUINO_RX_D0_Pin|ARDUINO_TX_D1_Pin;
  GPIO_InitStruct.Mode = GPIO_MODE_AF_PP;
  GPIO_InitStruct.Pull = GPIO_NOPULL;
  GPIO_InitStruct.Speed = GPIO_SPEED_FREQ_VERY_HIGH;
  GPIO_InitStruct.Alternate = GPIO_AF8_USART6;
  HAL_GPIO_Init(GPIOC, &GPIO_InitStruct);

  /*Configure GPIO pins : FMC_SDNME_Pin FMC_SDNE0_Pin */
  GPIO_InitStruct.Pin = FMC_SDNME_Pin|FMC_SDNE0_Pin;
  GPIO_InitStruct.Mode = GPIO_MODE_AF_PP;
  GPIO_InitStruct.Pull = GPIO_NOPULL;
  GPIO_InitStruct.Speed = GPIO_SPEED_FREQ_VERY_HIGH;
  GPIO_InitStruct.Alternate = GPIO_AF12_FMC;
  HAL_GPIO_Init(GPIOH, &GPIO_InitStruct);

  /*Configure GPIO pins : ARDUINO_D4_Pin ARDUINO_D2_Pin EXT_RST_Pin */
  GPIO_InitStruct.Pin = ARDUINO_D4_Pin|ARDUINO_D2_Pin|EXT_RST_Pin;
  GPIO_InitStruct.Mode = GPIO_MODE_OUTPUT_PP;
  GPIO_InitStruct.Pull = GPIO_NOPULL;
  GPIO_InitStruct.Speed = GPIO_SPEED_FREQ_LOW;
  HAL_GPIO_Init(GPIOG, &GPIO_InitStruct);

  /*Configure GPIO pins : ARDUINO_A4_Pin ARDUINO_A5_Pin ARDUINO_A1_Pin ARDUINO_A2_Pin
                           ARDUINO_A3_Pin */
  GPIO_InitStruct.Pin = ARDUINO_A4_Pin|ARDUINO_A5_Pin|ARDUINO_A1_Pin|ARDUINO_A2_Pin
                          |ARDUINO_A3_Pin;
  GPIO_InitStruct.Mode = GPIO_MODE_ANALOG;
  GPIO_InitStruct.Pull = GPIO_NOPULL;
  HAL_GPIO_Init(GPIOF, &GPIO_InitStruct);

  /*Configure GPIO pin : FMC_SDCKE0_Pin */
  GPIO_InitStruct.Pin = FMC_SDCKE0_Pin;
  GPIO_InitStruct.Mode = GPIO_MODE_AF_PP;
  GPIO_InitStruct.Pull = GPIO_NOPULL;
  GPIO_InitStruct.Speed = GPIO_SPEED_FREQ_VERY_HIGH;
  GPIO_InitStruct.Alternate = GPIO_AF12_FMC;
  HAL_GPIO_Init(FMC_SDCKE0_GPIO_Port, &GPIO_InitStruct);

  /*Configure GPIO pins : RMII_MDC_Pin RMII_RXD0_Pin RMII_RXD1_Pin */
  GPIO_InitStruct.Pin = RMII_MDC_Pin|RMII_RXD0_Pin|RMII_RXD1_Pin;
  GPIO_InitStruct.Mode = GPIO_MODE_AF_PP;
  GPIO_InitStruct.Pull = GPIO_NOPULL;
  GPIO_InitStruct.Speed = GPIO_SPEED_FREQ_VERY_HIGH;
  GPIO_InitStruct.Alternate = GPIO_AF11_ETH;
  HAL_GPIO_Init(GPIOC, &GPIO_InitStruct);

  /*Configure GPIO pin : PB2 */
  GPIO_InitStruct.Pin = GPIO_PIN_2;
  GPIO_InitStruct.Mode = GPIO_MODE_AF_PP;
  GPIO_InitStruct.Pull = GPIO_NOPULL;
  GPIO_InitStruct.Speed = GPIO_SPEED_FREQ_VERY_HIGH;
  GPIO_InitStruct.Alternate = GPIO_AF9_QUADSPI;
  HAL_GPIO_Init(GPIOB, &GPIO_InitStruct);

  /*Configure GPIO pins : QSPI_D1_Pin QSPI_D3_Pin QSPI_D0_Pin */
  GPIO_InitStruct.Pin = QSPI_D1_Pin|QSPI_D3_Pin|QSPI_D0_Pin;
  GPIO_InitStruct.Mode = GPIO_MODE_AF_PP;
  GPIO_InitStruct.Pull = GPIO_NOPULL;
  GPIO_InitStruct.Speed = GPIO_SPEED_FREQ_VERY_HIGH;
  GPIO_InitStruct.Alternate = GPIO_AF9_QUADSPI;
  HAL_GPIO_Init(GPIOD, &GPIO_InitStruct);

  /*Configure GPIO pin : RMII_RXER_Pin */
  GPIO_InitStruct.Pin = RMII_RXER_Pin;
  GPIO_InitStruct.Mode = GPIO_MODE_INPUT;
  GPIO_InitStruct.Pull = GPIO_NOPULL;
  HAL_GPIO_Init(RMII_RXER_GPIO_Port, &GPIO_InitStruct);

  /*Configure GPIO pins : RMII_REF_CLK_Pin RMII_MDIO_Pin RMII_CRS_DV_Pin */
  GPIO_InitStruct.Pin = RMII_REF_CLK_Pin|RMII_MDIO_Pin|RMII_CRS_DV_Pin;
  GPIO_InitStruct.Mode = GPIO_MODE_AF_PP;
  GPIO_InitStruct.Pull = GPIO_NOPULL;
  GPIO_InitStruct.Speed = GPIO_SPEED_FREQ_VERY_HIGH;
  GPIO_InitStruct.Alternate = GPIO_AF11_ETH;
  HAL_GPIO_Init(GPIOA, &GPIO_InitStruct);

  /*Configure GPIO pin : ARDUINO_A0_Pin */
  GPIO_InitStruct.Pin = ARDUINO_A0_Pin;
  GPIO_InitStruct.Mode = GPIO_MODE_ANALOG;
  GPIO_InitStruct.Pull = GPIO_NOPULL;
  HAL_GPIO_Init(ARDUINO_A0_GPIO_Port, &GPIO_InitStruct);

  /*Configure GPIO pins : DCMI_HSYNC_Pin PA6 */
  GPIO_InitStruct.Pin = DCMI_HSYNC_Pin|GPIO_PIN_6;
  GPIO_InitStruct.Mode = GPIO_MODE_AF_PP;
  GPIO_InitStruct.Pull = GPIO_NOPULL;
  GPIO_InitStruct.Speed = GPIO_SPEED_FREQ_LOW;
  GPIO_InitStruct.Alternate = GPIO_AF13_DCMI;
  HAL_GPIO_Init(GPIOA, &GPIO_InitStruct);

  /*Configure GPIO pins : LCD_SCL_Pin LCD_SDA_Pin */
  GPIO_InitStruct.Pin = LCD_SCL_Pin|LCD_SDA_Pin;
  GPIO_InitStruct.Mode = GPIO_MODE_AF_OD;
  GPIO_InitStruct.Pull = GPIO_NOPULL;
  GPIO_InitStruct.Speed = GPIO_SPEED_FREQ_VERY_HIGH;
  GPIO_InitStruct.Alternate = GPIO_AF4_I2C3;
  HAL_GPIO_Init(GPIOH, &GPIO_InitStruct);

  /*Configure GPIO pin : ARDUINO_PWM_D6_Pin */
  GPIO_InitStruct.Pin = ARDUINO_PWM_D6_Pin;
  GPIO_InitStruct.Mode = GPIO_MODE_AF_PP;
  GPIO_InitStruct.Pull = GPIO_NOPULL;
  GPIO_InitStruct.Speed = GPIO_SPEED_FREQ_LOW;
  GPIO_InitStruct.Alternate = GPIO_AF9_TIM12;
  HAL_GPIO_Init(ARDUINO_PWM_D6_GPIO_Port, &GPIO_InitStruct);

  /*Configure GPIO pins : ARDUINO_MISO_D12_Pin ARDUINO_MOSI_PWM_D11_Pin */
  GPIO_InitStruct.Pin = ARDUINO_MISO_D12_Pin|ARDUINO_MOSI_PWM_D11_Pin;
  GPIO_InitStruct.Mode = GPIO_MODE_AF_PP;
  GPIO_InitStruct.Pull = GPIO_NOPULL;
  GPIO_InitStruct.Speed = GPIO_SPEED_FREQ_LOW;
  GPIO_InitStruct.Alternate = GPIO_AF5_SPI2;
  HAL_GPIO_Init(GPIOB, &GPIO_InitStruct);

}

/* USER CODE BEGIN 4 */

//--------------------------------------------------------------------+
// Device callbacks
//--------------------------------------------------------------------+

// Invoked when device is mounted
void tud_mount_cb(void) {
  blink_interval_ms = BLINK_MOUNTED;
}

// Invoked when device is unmounted
void tud_umount_cb(void) {
  blink_interval_ms = BLINK_NOT_MOUNTED;
}

// Invoked when usb bus is suspended
// remote_wakeup_en : if host allow us  to perform remote wakeup
// Within 7ms, device must draw an average of current less than 2.5 mA from bus
void tud_suspend_cb(bool remote_wakeup_en) {
  (void) remote_wakeup_en;
  blink_interval_ms = BLINK_SUSPENDED;
}

// Invoked when usb bus is resumed
void tud_resume_cb(void) {
  blink_interval_ms = tud_mounted() ? BLINK_MOUNTED : BLINK_NOT_MOUNTED;
}

//--------------------------------------------------------------------+
// USB CDC
//--------------------------------------------------------------------+

// Invoked when cdc when line state changed e.g connected/disconnected
void tud_cdc_line_state_cb(uint8_t itf, bool dtr, bool rts) {
  (void) itf;
  (void) rts;

  // TODO set some indicator
  if (dtr) {
    // Terminal connected
  } else {
    // Terminal disconnected
  }
}

// Invoked when CDC interface received data from host
void tud_cdc_rx_cb(uint8_t itf) {
  (void) itf;
}

/* USER CODE END 4 */

void ToggleLedTask(void *argument)
{
  /* USER CODE BEGIN 5 */
  UNUSED(argument);
  static uint32_t start_ms = 0;
  static bool led_state = false;

  /* Infinite loop */
  for(;;)
  {
    // Blink every interval ms
    osDelay(blink_interval_ms / portTICK_PERIOD_MS);
    start_ms += blink_interval_ms;

    HAL_GPIO_WritePin(LED_GPIO_Port, LED_Pin, led_state);
    led_state = 1 - led_state; // toggle
  }
  /* USER CODE END 5 */
}

void USBCDCTask(void *argument)
{
  /* USER CODE BEGIN USBCDCTask */
  UNUSED(argument);

  /* Infinite loop */
  for(;;)
  {
    // connected() check for DTR bit
    // Most but not all terminal client set this when making connection
    // if ( tud_cdc_connected() )
    {
      // There are data available
      while (tud_cdc_available()) {
        uint8_t buf[64];

        // read and echo back
        uint32_t count = tud_cdc_read(buf, sizeof(buf));
        (void) count;

        // Echo back
        // Note: Skip echo by commenting out write() and write_flush()
        // for throughput test e.g
        //    $ dd if=/dev/zero of=/dev/ttyACM0 count=10000
        tud_cdc_write(buf, count);
      }

      tud_cdc_write_flush();
    }

    // Yield CPU to other tasks
    osDelay(1);
  }
  /* USER CODE END USBCDCTask */
}

void USBDeviceTask(void *argument)
{
  /* USER CODE BEGIN USBDeviceTask */
  UNUSED(argument);

  // init TinyUSB device stack on configured roothub port
  // This should be called after scheduler/kernel is started.
  // Otherwise it could cause kernel issue since USB IRQ handler does use RTOS queue API.
  tusb_init();

  /* Infinite loop */
  for(;;)
  {
    // put this thread to waiting state until there is new events
    tud_task();

    // following code only run if tud_task() process at least 1 event
    tud_cdc_write_flush();

    // Yield CPU to other tasks
    osDelay(1);
  }
  /* USER CODE END USBDeviceTask */
}

void HAL_TIM_PeriodElapsedCallback(TIM_HandleTypeDef *htim)
{
  if (htim->Instance == TIM6) {
    HAL_IncTick();
  }
}

void Error_Handler(void)
{
  __disable_irq();
  while (1)
  {
  }
}
